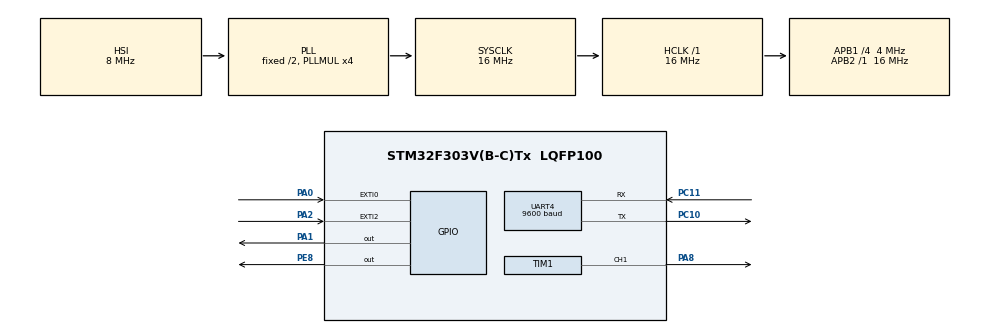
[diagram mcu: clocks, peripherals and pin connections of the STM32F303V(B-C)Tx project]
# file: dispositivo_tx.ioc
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Mcu.Family=STM32F3
Mcu.Name=STM32F303V(B-C)Tx
Mcu.Package=LQFP100
NVIC.EXTI0_IRQn=true\:0\:0\:true\:false\:true\:true\:true\:true
NVIC.EXTI2_TSC_IRQn=true\:1\:0\:true\:false\:true\:true\:true\:true
NVIC.PriorityGroup=NVIC_PRIORITYGROUP_4
NVIC.TIM1_UP_TIM16_IRQn=true\:0\:0\:false\:false\:true\:true\:true\:true
NVIC.TIM2_IRQn=true\:0\:0\:false\:false\:true\:true\:true\:true
NVIC.TIM4_IRQn=true\:0\:0\:false\:false\:true\:true\:true\:true
NVIC.TIM6_DAC_IRQn=true\:0\:0\:false\:false\:true\:true\:true\:true
NVIC.UART4_IRQn=true\:0\:0\:false\:false\:true\:true\:true\:true
PA0.GPIO_ModeDefaultEXTI=GPIO_MODE_IT_RISING
PA0.GPIO_PuPd=GPIO_PULLDOWN
PA0.Signal=GPXTI0
PA1.Signal=GPIO_Output
PA2.GPIO_ModeDefaultEXTI=GPIO_MODE_IT_RISING_FALLING
PA2.GPIO_PuPd=GPIO_PULLDOWN
PA2.Signal=GPXTI2
PA8.Signal=S_TIM1_CH1
PC10.GPIO_PuPd=GPIO_PULLUP
PC10.Mode=Asynchronous
PC10.Signal=UART4_TX
PC11.GPIO_PuPd=GPIO_PULLUP
PC11.Mode=Asynchronous
PC11.Signal=UART4_RX
PE8.Signal=GPIO_Output
ProjectManager.HeapSize=0x200
ProjectManager.StackSize=0x400
ProjectManager.TargetToolchain=STM32CubeIDE
RCC.AHBFreq_Value=16000000
RCC.APB1CLKDivider=RCC_HCLK_DIV4
RCC.APB1Freq_Value=4000000
RCC.APB1TimFreq_Value=8000000
RCC.APB2Freq_Value=16000000
RCC.APB2TimFreq_Value=16000000
RCC.CortexFreq_Value=16000000
RCC.HCLKFreq_Value=16000000
RCC.HSE_VALUE=8000000
RCC.HSI_VALUE=8000000
RCC.LSE_VALUE=32768
RCC.PLLMUL=RCC_PLL_MUL4
RCC.SYSCLKFreq_VALUE=16000000
RCC.SYSCLKSourceVirtual=RCC_SYSCLKSOURCE_PLLCLK
RCC.USBFreq_Value=16000000
SH.S_TIM1_CH1.0=TIM1_CH1,PWM Generation1 CH1
TIM1.Channel-PWM\ Generation1\ CH1=TIM_CHANNEL_1
TIM1.Period=1000-1
TIM1.Prescaler=320-1
TIM2.AutoReloadPreload=TIM_AUTORELOAD_PRELOAD_DISABLE
TIM2.Period=1000-1
TIM2.Prescaler=4000-1
TIM3.Period=65535
TIM3.Prescaler=8-1
TIM4.Period=15-1
TIM4.Prescaler=8-1
TIM6.Period=400-1
TIM6.Prescaler=800-1
UART4.BaudRate=9600
UART4.Mode=MODE_TX
VP_TIM1_VS_ClockSourceINT.Mode=Internal
VP_TIM2_VS_ClockSourceINT.Mode=Internal
VP_TIM3_VS_ClockSourceINT.Mode=Internal
VP_TIM4_VS_ClockSourceINT.Mode=Internal
VP_TIM6_VS_ClockSourceINT.Mode=Enable_Timer
board=custom

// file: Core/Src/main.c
/* USER CODE BEGIN Header */
/**
  ******************************************************************************
  * @file           : main.c
  * @brief          : Main program body
  ******************************************************************************
  * @attention
  *
  * Copyright (c) 2023 STMicroelectronics.
  * All rights reserved.
  *
  * This software is licensed under terms that can be found in the LICENSE file
  * in the root directory of this software component.
  * If no LICENSE file comes with this software, it is provided AS-IS.
  *
  ******************************************************************************
  */
/* USER CODE END Header */
#include "main.h"

/* USER CODE BEGIN PM */
#define DATA_SIZE 2
#define MAX_UINT_16 65535
/* USER CODE END PM */

TIM_HandleTypeDef htim1;
TIM_HandleTypeDef htim2;
TIM_HandleTypeDef htim3;
TIM_HandleTypeDef htim4;
TIM_HandleTypeDef htim6;

UART_HandleTypeDef huart4;

/* USER CODE BEGIN PV */
int rotation = 25;
int direction = 0; // 0 -> UP, 1 -> DOWN
int distance = 0;
int paused = 0;
uint16_t sendbuff[DATA_SIZE];
/* USER CODE END PV */

void SystemClock_Config(void);
static void MX_GPIO_Init(void);
static void MX_TIM1_Init(void);
static void MX_TIM2_Init(void);
static void MX_TIM3_Init(void);
static void MX_TIM4_Init(void);
static void MX_TIM6_Init(void);
static void MX_UART4_Init(void);

/* USER CODE BEGIN 0 */
void TIM6_Callback() {
	HAL_GPIO_WritePin(GPIOA, GPIO_PIN_1, GPIO_PIN_SET); // alza Trigger
	HAL_TIM_Base_Start_IT(&htim4);

	HAL_TIM_Base_Stop_IT(&htim6);
	htim6.Instance->CNT = 0;
}

void TIM2_Callback() {
	HAL_TIM_Base_Start_IT(&htim6);

	if(direction == 0) {
		rotation += 5;
		htim1.Instance->CCR1 = rotation;

		if(rotation == 125) {
			direction = 1;
		}
	} else {
		rotation -= 5;
		htim1.Instance->CCR1 = rotation;

		if(rotation == 25) {
			direction = 0;
		}
	}
}

void TIM4_Callback() {
	HAL_GPIO_WritePin(GPIOA, GPIO_PIN_1, GPIO_PIN_RESET); // abbassa Trigger

	HAL_TIM_Base_Stop_IT(&htim4);
	htim4.Instance->CNT = 0;
}

void HAL_TIM_PeriodElapsedCallback(TIM_HandleTypeDef* htim) {
	if(htim == &htim6) {
		TIM6_Callback();
	} else if(htim == &htim2) {
		TIM2_Callback();
	} else if(htim == &htim4) {
		TIM4_Callback();
	}
}
void ECHO_Callback() {
	if(HAL_GPIO_ReadPin(GPIOA, GPIO_PIN_2) == GPIO_PIN_SET) {	// rising-edge
		HAL_TIM_Base_Start_IT(&htim3);
	} else {	// falling-edge
		HAL_TIM_Base_Stop_IT(&htim3);
		if(htim3.Instance->CNT > 25000) {
			distance = MAX_UINT_16;
		} else {
			distance = htim3.Instance->CNT / 58;
		}

		sendbuff[0] = distance;
		sendbuff[1] = rotation;
		HAL_UART_Transmit_IT(&huart4, (uint8_t *) sendbuff, sizeof(uint16_t) * DATA_SIZE);
		htim3.Instance->CNT = 0;
	}
}

void BUTTON_Callback() {
	if(paused) {
		HAL_TIM_Base_Start_IT(&htim2);
		HAL_TIM_PWM_Start(&htim1, TIM_CHANNEL_1);
		paused = 0;
	} else {
		HAL_TIM_Base_Stop_IT(&htim2);
		HAL_TIM_PWM_Stop(&htim1, TIM_CHANNEL_1);
		paused = 1;
	}
}

void HAL_GPIO_EXTI_Callback(uint16_t GPIO_Pin) {
	if(GPIO_Pin == GPIO_PIN_2) {
		ECHO_Callback();
	} else if(GPIO_Pin == GPIO_PIN_0) {
		BUTTON_Callback();
	}
}

void HAL_UART_TxCpltCallback(UART_HandleTypeDef *huart) {
	HAL_GPIO_WritePin(GPIOE, GPIO_PIN_8, GPIO_PIN_SET);
}

/* USER CODE END 0 */

int main(void)
{

  /* MCU Configuration--------------------------------------------------------*/

  /* Reset of all peripherals, Initializes the Flash interface and the Systick. */
  HAL_Init();

  /* Configure the system clock */
  SystemClock_Config();

  /* Initialize all configured peripherals */
  MX_GPIO_Init();
  MX_TIM1_Init();
  MX_TIM2_Init();
  MX_TIM3_Init();
  MX_TIM4_Init();
  MX_TIM6_Init();
  MX_UART4_Init();
  /* USER CODE BEGIN 2 */
  HAL_TIM_Base_Start_IT(&htim2);

  htim1.Instance->CCR1 = rotation;
  HAL_TIM_PWM_Start(&htim1, TIM_CHANNEL_1);
  /* USER CODE END 2 */

  /* Infinite loop */
  while (1)
  {

  }
}

void SystemClock_Config(void)
{
  RCC_OscInitTypeDef RCC_OscInitStruct = {0};
  RCC_ClkInitTypeDef RCC_ClkInitStruct = {0};
  RCC_PeriphCLKInitTypeDef PeriphClkInit = {0};

  /** Initializes the RCC Oscillators according to the specified parameters
  * in the RCC_OscInitTypeDef structure.
  */
  RCC_OscInitStruct.OscillatorType = RCC_OSCILLATORTYPE_HSI;
  RCC_OscInitStruct.HSIState = RCC_HSI_ON;
  RCC_OscInitStruct.HSICalibrationValue = RCC_HSICALIBRATION_DEFAULT;
  RCC_OscInitStruct.PLL.PLLState = RCC_PLL_ON;
  RCC_OscInitStruct.PLL.PLLSource = RCC_PLLSOURCE_HSI;
  RCC_OscInitStruct.PLL.PLLMUL = RCC_PLL_MUL4;
  if (HAL_RCC_OscConfig(&RCC_OscInitStruct) != HAL_OK)
  {
    Error_Handler();
  }

  /** Initializes the CPU, AHB and APB buses clocks
  */
  RCC_ClkInitStruct.ClockType = RCC_CLOCKTYPE_HCLK|RCC_CLOCKTYPE_SYSCLK
                              |RCC_CLOCKTYPE_PCLK1|RCC_CLOCKTYPE_PCLK2;
  RCC_ClkInitStruct.SYSCLKSource = RCC_SYSCLKSOURCE_PLLCLK;
  RCC_ClkInitStruct.AHBCLKDivider = RCC_SYSCLK_DIV1;
  RCC_ClkInitStruct.APB1CLKDivider = RCC_HCLK_DIV4;
  RCC_ClkInitStruct.APB2CLKDivider = RCC_HCLK_DIV1;

  if (HAL_RCC_ClockConfig(&RCC_ClkInitStruct, FLASH_LATENCY_0) != HAL_OK)
  {
    Error_Handler();
  }
  PeriphClkInit.PeriphClockSelection = RCC_PERIPHCLK_UART4|RCC_PERIPHCLK_TIM1;
  PeriphClkInit.Uart4ClockSelection = RCC_UART4CLKSOURCE_PCLK1;
  PeriphClkInit.Tim1ClockSelection = RCC_TIM1CLK_HCLK;
  if (HAL_RCCEx_PeriphCLKConfig(&PeriphClkInit) != HAL_OK)
  {
    Error_Handler();
  }
}

static void MX_TIM1_Init(void)
{

  TIM_ClockConfigTypeDef sClockSourceConfig = {0};
  TIM_MasterConfigTypeDef sMasterConfig = {0};
  TIM_OC_InitTypeDef sConfigOC = {0};
  TIM_BreakDeadTimeConfigTypeDef sBreakDeadTimeConfig = {0};

  htim1.Instance = TIM1;
  htim1.Init.Prescaler = 320-1;
  htim1.Init.CounterMode = TIM_COUNTERMODE_UP;
  htim1.Init.Period = 1000-1;
  htim1.Init.ClockDivision = TIM_CLOCKDIVISION_DIV1;
  htim1.Init.RepetitionCounter = 0;
  htim1.Init.AutoReloadPreload = TIM_AUTORELOAD_PRELOAD_DISABLE;
  if (HAL_TIM_Base_Init(&htim1) != HAL_OK)
  {
    Error_Handler();
  }
  sClockSourceConfig.ClockSource = TIM_CLOCKSOURCE_INTERNAL;
  if (HAL_TIM_ConfigClockSource(&htim1, &sClockSourceConfig) != HAL_OK)
  {
    Error_Handler();
  }
  if (HAL_TIM_PWM_Init(&htim1) != HAL_OK)
  {
    Error_Handler();
  }
  sMasterConfig.MasterOutputTrigger = TIM_TRGO_RESET;
  sMasterConfig.MasterOutputTrigger2 = TIM_TRGO2_RESET;
  sMasterConfig.MasterSlaveMode = TIM_MASTERSLAVEMODE_DISABLE;
  if (HAL_TIMEx_MasterConfigSynchronization(&htim1, &sMasterConfig) != HAL_OK)
  {
    Error_Handler();
  }
  sConfigOC.OCMode = TIM_OCMODE_PWM1;
  sConfigOC.Pulse = 0;
  sConfigOC.OCPolarity = TIM_OCPOLARITY_HIGH;
  sConfigOC.OCNPolarity = TIM_OCNPOLARITY_HIGH;
  sConfigOC.OCFastMode = TIM_OCFAST_DISABLE;
  sConfigOC.OCIdleState = TIM_OCIDLESTATE_RESET;
  sConfigOC.OCNIdleState = TIM_OCNIDLESTATE_RESET;
  if (HAL_TIM_PWM_ConfigChannel(&htim1, &sConfigOC, TIM_CHANNEL_1) != HAL_OK)
  {
    Error_Handler();
  }
  sBreakDeadTimeConfig.OffStateRunMode = TIM_OSSR_DISABLE;
  sBreakDeadTimeConfig.OffStateIDLEMode = TIM_OSSI_DISABLE;
  sBreakDeadTimeConfig.LockLevel = TIM_LOCKLEVEL_OFF;
  sBreakDeadTimeConfig.DeadTime = 0;
  sBreakDeadTimeConfig.BreakState = TIM_BREAK_DISABLE;
  sBreakDeadTimeConfig.BreakPolarity = TIM_BREAKPOLARITY_HIGH;
  sBreakDeadTimeConfig.BreakFilter = 0;
  sBreakDeadTimeConfig.Break2State = TIM_BREAK2_DISABLE;
  sBreakDeadTimeConfig.Break2Polarity = TIM_BREAK2POLARITY_HIGH;
  sBreakDeadTimeConfig.Break2Filter = 0;
  sBreakDeadTimeConfig.AutomaticOutput = TIM_AUTOMATICOUTPUT_DISABLE;
  if (HAL_TIMEx_ConfigBreakDeadTime(&htim1, &sBreakDeadTimeConfig) != HAL_OK)
  {
    Error_Handler();
  }
  HAL_TIM_MspPostInit(&htim1);

}

static void MX_TIM2_Init(void)
{

  TIM_ClockConfigTypeDef sClockSourceConfig = {0};
  TIM_MasterConfigTypeDef sMasterConfig = {0};

  htim2.Instance = TIM2;
  htim2.Init.Prescaler = 4000-1;
  htim2.Init.CounterMode = TIM_COUNTERMODE_UP;
  htim2.Init.Period = 1000-1;
  htim2.Init.ClockDivision = TIM_CLOCKDIVISION_DIV1;
  htim2.Init.AutoReloadPreload = TIM_AUTORELOAD_PRELOAD_DISABLE;
  if (HAL_TIM_Base_Init(&htim2) != HAL_OK)
  {
    Error_Handler();
  }
  sClockSourceConfig.ClockSource = TIM_CLOCKSOURCE_INTERNAL;
  if (HAL_TIM_ConfigClockSource(&htim2, &sClockSourceConfig) != HAL_OK)
  {
    Error_Handler();
  }
  sMasterConfig.MasterOutputTrigger = TIM_TRGO_RESET;
  sMasterConfig.MasterSlaveMode = TIM_MASTERSLAVEMODE_DISABLE;
  if (HAL_TIMEx_MasterConfigSynchronization(&htim2, &sMasterConfig) != HAL_OK)
  {
    Error_Handler();
  }

}

static void MX_TIM3_Init(void)
{

  TIM_ClockConfigTypeDef sClockSourceConfig = {0};
  TIM_MasterConfigTypeDef sMasterConfig = {0};

  htim3.Instance = TIM3;
  htim3.Init.Prescaler = 8-1;
  htim3.Init.CounterMode = TIM_COUNTERMODE_UP;
  htim3.Init.Period = 65535;
  htim3.Init.ClockDivision = TIM_CLOCKDIVISION_DIV1;
  htim3.Init.AutoReloadPreload = TIM_AUTORELOAD_PRELOAD_DISABLE;
  if (HAL_TIM_Base_Init(&htim3) != HAL_OK)
  {
    Error_Handler();
  }
  sClockSourceConfig.ClockSource = TIM_CLOCKSOURCE_INTERNAL;
  if (HAL_TIM_ConfigClockSource(&htim3, &sClockSourceConfig) != HAL_OK)
  {
    Error_Handler();
  }
  sMasterConfig.MasterOutputTrigger = TIM_TRGO_RESET;
  sMasterConfig.MasterSlaveMode = TIM_MASTERSLAVEMODE_DISABLE;
  if (HAL_TIMEx_MasterConfigSynchronization(&htim3, &sMasterConfig) != HAL_OK)
  {
    Error_Handler();
  }

}

static void MX_TIM4_Init(void)
{

  TIM_ClockConfigTypeDef sClockSourceConfig = {0};
  TIM_MasterConfigTypeDef sMasterConfig = {0};

  htim4.Instance = TIM4;
  htim4.Init.Prescaler = 8-1;
  htim4.Init.CounterMode = TIM_COUNTERMODE_UP;
  htim4.Init.Period = 15-1;
  htim4.Init.ClockDivision = TIM_CLOCKDIVISION_DIV1;
  htim4.Init.AutoReloadPreload = TIM_AUTORELOAD_PRELOAD_DISABLE;
  if (HAL_TIM_Base_Init(&htim4) != HAL_OK)
  {
    Error_Handler();
  }
  sClockSourceConfig.ClockSource = TIM_CLOCKSOURCE_INTERNAL;
  if (HAL_TIM_ConfigClockSource(&htim4, &sClockSourceConfig) != HAL_OK)
  {
    Error_Handler();
  }
  sMasterConfig.MasterOutputTrigger = TIM_TRGO_RESET;
  sMasterConfig.MasterSlaveMode = TIM_MASTERSLAVEMODE_DISABLE;
  if (HAL_TIMEx_MasterConfigSynchronization(&htim4, &sMasterConfig) != HAL_OK)
  {
    Error_Handler();
  }

}

static void MX_TIM6_Init(void)
{

  TIM_MasterConfigTypeDef sMasterConfig = {0};

  htim6.Instance = TIM6;
  htim6.Init.Prescaler = 800-1;
  htim6.Init.CounterMode = TIM_COUNTERMODE_UP;
  htim6.Init.Period = 400-1;
  htim6.Init.AutoReloadPreload = TIM_AUTORELOAD_PRELOAD_DISABLE;
  if (HAL_TIM_Base_Init(&htim6) != HAL_OK)
  {
    Error_Handler();
  }
  sMasterConfig.MasterOutputTrigger = TIM_TRGO_RESET;
  sMasterConfig.MasterSlaveMode = TIM_MASTERSLAVEMODE_DISABLE;
  if (HAL_TIMEx_MasterConfigSynchronization(&htim6, &sMasterConfig) != HAL_OK)
  {
    Error_Handler();
  }

}

static void MX_UART4_Init(void)
{

  huart4.Instance = UART4;
  huart4.Init.BaudRate = 9600;
  huart4.Init.WordLength = UART_WORDLENGTH_8B;
  huart4.Init.StopBits = UART_STOPBITS_1;
  huart4.Init.Parity = UART_PARITY_NONE;
  huart4.Init.Mode = UART_MODE_TX;
  huart4.Init.HwFlowCtl = UART_HWCONTROL_NONE;
  huart4.Init.OverSampling = UART_OVERSAMPLING_16;
  huart4.Init.OneBitSampling = UART_ONE_BIT_SAMPLE_DISABLE;
  huart4.AdvancedInit.AdvFeatureInit = UART_ADVFEATURE_NO_INIT;
  if (HAL_UART_Init(&huart4) != HAL_OK)
  {
    Error_Handler();
  }

}

static void MX_GPIO_Init(void)
{
  GPIO_InitTypeDef GPIO_InitStruct = {0};

  /* GPIO Ports Clock Enable */
  __HAL_RCC_GPIOA_CLK_ENABLE();
  __HAL_RCC_GPIOE_CLK_ENABLE();
  __HAL_RCC_GPIOC_CLK_ENABLE();

  /*Configure GPIO pin Output Level */
  HAL_GPIO_WritePin(GPIOA, GPIO_PIN_1, GPIO_PIN_RESET);

  /*Configure GPIO pin Output Level */
  HAL_GPIO_WritePin(GPIOE, GPIO_PIN_8, GPIO_PIN_RESET);

  /*Configure GPIO pin : PA0 */
  GPIO_InitStruct.Pin = GPIO_PIN_0;
  GPIO_InitStruct.Mode = GPIO_MODE_IT_RISING;
  GPIO_InitStruct.Pull = GPIO_PULLDOWN;
  HAL_GPIO_Init(GPIOA, &GPIO_InitStruct);

  /*Configure GPIO pin : PA1 */
  GPIO_InitStruct.Pin = GPIO_PIN_1;
  GPIO_InitStruct.Mode = GPIO_MODE_OUTPUT_PP;
  GPIO_InitStruct.Pull = GPIO_NOPULL;
  GPIO_InitStruct.Speed = GPIO_SPEED_FREQ_LOW;
  HAL_GPIO_Init(GPIOA, &GPIO_InitStruct);

  /*Configure GPIO pin : PA2 */
  GPIO_InitStruct.Pin = GPIO_PIN_2;
  GPIO_InitStruct.Mode = GPIO_MODE_IT_RISING_FALLING;
  GPIO_InitStruct.Pull = GPIO_PULLDOWN;
  HAL_GPIO_Init(GPIOA, &GPIO_InitStruct);

  /*Configure GPIO pin : PE8 */
  GPIO_InitStruct.Pin = GPIO_PIN_8;
  GPIO_InitStruct.Mode = GPIO_MODE_OUTPUT_PP;
  GPIO_InitStruct.Pull = GPIO_NOPULL;
  GPIO_InitStruct.Speed = GPIO_SPEED_FREQ_LOW;
  HAL_GPIO_Init(GPIOE, &GPIO_InitStruct);

  /* EXTI interrupt init*/
  HAL_NVIC_SetPriority(EXTI0_IRQn, 0, 0);
  HAL_NVIC_EnableIRQ(EXTI0_IRQn);

  HAL_NVIC_SetPriority(EXTI2_TSC_IRQn, 1, 0);
  HAL_NVIC_EnableIRQ(EXTI2_TSC_IRQn);

}

void Error_Handler(void)
{
  __disable_irq();
  while (1)
  {
  }
}
